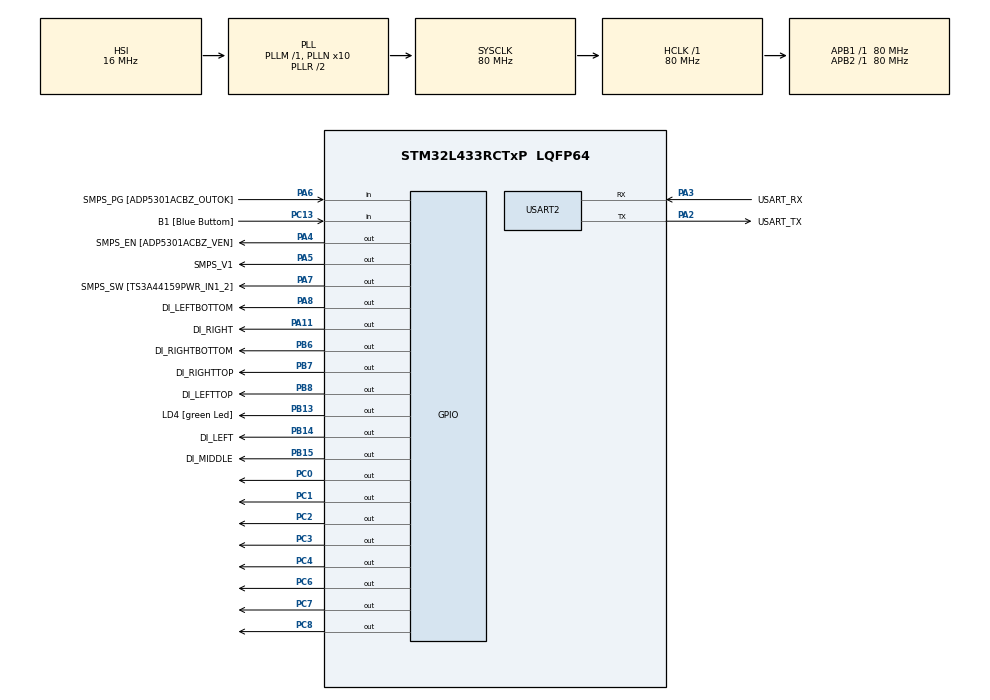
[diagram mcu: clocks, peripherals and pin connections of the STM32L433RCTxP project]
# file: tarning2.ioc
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Mcu.Family=STM32L4
Mcu.Name=STM32L433RCTxP
Mcu.Package=LQFP64
NVIC.PriorityGroup=NVIC_PRIORITYGROUP_4
PA11.GPIO_Label=DI_RIGHT
PA11.Signal=GPIO_Output
PA13\ (JTMS-SWDIO).GPIO_Label=TMS
PA13\ (JTMS-SWDIO).Mode=Serial_Wire
PA13\ (JTMS-SWDIO).Signal=SYS_JTMS-SWDIO
PA14\ (JTCK-SWCLK).GPIO_Label=TCK
PA14\ (JTCK-SWCLK).Mode=Serial_Wire
PA14\ (JTCK-SWCLK).Signal=SYS_JTCK-SWCLK
PA2.GPIO_Label=USART_TX
PA2.GPIO_Mode=GPIO_MODE_AF_PP
PA2.GPIO_PuPd=GPIO_NOPULL
PA2.GPIO_Speed=GPIO_SPEED_FREQ_VERY_HIGH
PA2.Mode=Asynchronous
PA2.Signal=USART2_TX
PA3.GPIO_Label=USART_RX
PA3.GPIO_Mode=GPIO_MODE_AF_PP
PA3.GPIO_PuPd=GPIO_NOPULL
PA3.GPIO_Speed=GPIO_SPEED_FREQ_VERY_HIGH
PA3.Mode=Asynchronous
PA3.Signal=USART2_RX
PA4.GPIO_Label=SMPS_EN [ADP5301ACBZ_VEN]
PA4.Signal=GPIO_Output
PA5.GPIO_Label=SMPS_V1
PA5.GPIO_ModeDefaultOutputPP=GPIO_MODE_OUTPUT_PP
PA5.GPIO_PuPd=GPIO_NOPULL
PA5.GPIO_Speed=GPIO_SPEED_FREQ_LOW
PA5.Signal=GPIO_Output
PA6.GPIO_Label=SMPS_PG [ADP5301ACBZ_OUTOK]
PA6.GPIO_PuPd=GPIO_PULLUP
PA6.Signal=GPIO_Input
PA7.GPIO_Label=SMPS_SW [TS3A44159PWR_IN1_2]
PA7.Signal=GPIO_Output
PA8.GPIO_Label=DI_LEFTBOTTOM
PA8.Signal=GPIO_Output
PB13.GPIO_Label=LD4 [green Led]
PB13.Signal=GPIO_Output
PB14.GPIO_Label=DI_LEFT
PB14.Signal=GPIO_Output
PB15.GPIO_Label=DI_MIDDLE
PB15.Signal=GPIO_Output
PB3\ (JTDO-TRACESWO).GPIO_Label=SWO
PB3\ (JTDO-TRACESWO).Signal=SYS_JTDO-SWO
PB6.GPIO_Label=DI_RIGHTBOTTOM
PB6.Signal=GPIO_Output
PB7.GPIO_Label=DI_RIGHTTOP
PB7.Signal=GPIO_Output
PB8.GPIO_Label=DI_LEFTTOP
PB8.Signal=GPIO_Output
PC0.Signal=GPIO_Output
PC1.Signal=GPIO_Output
PC13.GPIO_Label=B1 [Blue Buttom]
PC13.Signal=GPIO_Input
PC14-OSC32_IN\ (PC14).Mode=LSE-External-Oscillator
PC14-OSC32_IN\ (PC14).Signal=RCC_OSC32_IN
PC15-OSC32_OUT\ (PC15).Mode=LSE-External-Oscillator
PC15-OSC32_OUT\ (PC15).Signal=RCC_OSC32_OUT
PC2.Signal=GPIO_Output
PC3.Signal=GPIO_Output
PC4.Signal=GPIO_Output
PC6.Signal=GPIO_Output
PC7.Signal=GPIO_Output
PC8.Signal=GPIO_Output
PH0-OSC_IN\ (PH0).GPIO_Label=MCO
PH0-OSC_IN\ (PH0).Mode=HSE-External-Clock-Source
PH0-OSC_IN\ (PH0).Signal=RCC_OSC_IN
PH1-OSC_OUT\ (PH1).Signal=RCC_OSC_OUT
ProjectManager.HeapSize=0x200
ProjectManager.StackSize=0x400
ProjectManager.TargetToolchain=STM32CubeIDE
RCC.ADCFreq_Value=64000000
RCC.AHBFreq_Value=80000000
RCC.APB1Freq_Value=80000000
RCC.APB1TimFreq_Value=80000000
RCC.APB2Freq_Value=80000000
RCC.APB2TimFreq_Value=80000000
RCC.CortexFreq_Value=80000000
RCC.HCLKFreq_Value=80000000
RCC.HSE_VALUE=8000000
RCC.HSI48_VALUE=48000000
RCC.HSI_VALUE=16000000
RCC.MSI_VALUE=4000000
RCC.PLLN=10
RCC.PLLSourceVirtual=RCC_PLLSOURCE_HSI
RCC.PREFETCH_ENABLE=1
RCC.SYSCLKFreq_VALUE=80000000
RCC.SYSCLKSource=RCC_SYSCLKSOURCE_PLLCLK
RCC.USBFreq_Value=64000000
RCC.VCOOutputFreq_Value=160000000
USART2.VirtualMode-Asynchronous=VM_ASYNC
board=NUCLEO-L433RC-P

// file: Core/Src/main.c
/* USER CODE BEGIN Header */
/**
  ******************************************************************************
  * @file           : main.c
  * @brief          : Main program body
  ******************************************************************************
  * @attention
  *
  * Copyright (c) 2026 STMicroelectronics.
  * All rights reserved.
  *
  * This software is licensed under terms that can be found in the LICENSE file
  * in the root directory of this software component.
  * If no LICENSE file comes with this software, it is provided AS-IS.
  *
  ******************************************************************************
  */
/* USER CODE END Header */
#include "main.h"

/* USER CODE BEGIN Includes */
#include "tarning.h"
#include "7segment.h"
/* USER CODE END Includes */

UART_HandleTypeDef huart2;

void SystemClock_Config(void);
static void MX_GPIO_Init(void);
static void MX_USART2_UART_Init(void);

/* USER CODE BEGIN 0 */
int is_button_pressed(void) {
	return GPIOC->IDR & (1u << 13);
}
void put_die_dots(uint8_t nbr){
	_tarning_set(nbr, true);
}
void put_on_sseg(uint8_t nbr) {
	seven_segment_display(nbr);
}
/* USER CODE END 0 */

int main(void)
{

  /* MCU Configuration--------------------------------------------------------*/

  /* Reset of all peripherals, Initializes the Flash interface and the Systick. */
  HAL_Init();

  /* Configure the system clock */
  SystemClock_Config();

  /* Initialize all configured peripherals */
  MX_GPIO_Init();
  MX_USART2_UART_Init();
  /* USER CODE BEGIN 2 */
  int pressed = 0;
  tarning_idle();
  /* USER CODE END 2 */

  /* Infinite loop */
  while (1)
  {

    /* USER CODE BEGIN 3 */
	  // if (HAL_GPIO_ReadPin(B1_GPIO_Port, B1_Pin) == GPIO_PIN_SET) {
	  pressed = is_button_pressed();

	  if (pressed){
		  tarning_roll();
		  HAL_Delay(1);
	  }
	  else HAL_Delay(20);
	  seven_segment_display(tarning_history());

	  if (pressed)
	  {
		  HAL_GPIO_WritePin(LD4_GPIO_Port, LD4_Pin, GPIO_PIN_SET);
	  }
	  else
	  {
		  GPIO_TypeDef* ld_gpio = LD4_GPIO_Port; // fel! ersatt med ditt svar
		  // uint16_t ld_pin_nbr = 13; // fel! ersatt med ditt svar
		  // uint16_t ld_pin = 0x01 << ld_pin_nbr;
		  HAL_GPIO_WritePin(ld_gpio, LD4_Pin, GPIO_PIN_RESET);
	  }

  }
  /* USER CODE END 3 */
}

void SystemClock_Config(void)
{
  RCC_OscInitTypeDef RCC_OscInitStruct = {0};
  RCC_ClkInitTypeDef RCC_ClkInitStruct = {0};

  /** Configure the main internal regulator output voltage
  */
  if (HAL_PWREx_ControlVoltageScaling(PWR_REGULATOR_VOLTAGE_SCALE1) != HAL_OK)
  {
    Error_Handler();
  }

  /** Initializes the RCC Oscillators according to the specified parameters
  * in the RCC_OscInitTypeDef structure.
  */
  RCC_OscInitStruct.OscillatorType = RCC_OSCILLATORTYPE_HSI;
  RCC_OscInitStruct.HSIState = RCC_HSI_ON;
  RCC_OscInitStruct.HSICalibrationValue = RCC_HSICALIBRATION_DEFAULT;
  RCC_OscInitStruct.PLL.PLLState = RCC_PLL_ON;
  RCC_OscInitStruct.PLL.PLLSource = RCC_PLLSOURCE_HSI;
  RCC_OscInitStruct.PLL.PLLM = 1;
  RCC_OscInitStruct.PLL.PLLN = 10;
  RCC_OscInitStruct.PLL.PLLP = RCC_PLLP_DIV7;
  RCC_OscInitStruct.PLL.PLLQ = RCC_PLLQ_DIV2;
  RCC_OscInitStruct.PLL.PLLR = RCC_PLLR_DIV2;
  if (HAL_RCC_OscConfig(&RCC_OscInitStruct) != HAL_OK)
  {
    Error_Handler();
  }

  /** Initializes the CPU, AHB and APB buses clocks
  */
  RCC_ClkInitStruct.ClockType = RCC_CLOCKTYPE_HCLK|RCC_CLOCKTYPE_SYSCLK
                              |RCC_CLOCKTYPE_PCLK1|RCC_CLOCKTYPE_PCLK2;
  RCC_ClkInitStruct.SYSCLKSource = RCC_SYSCLKSOURCE_PLLCLK;
  RCC_ClkInitStruct.AHBCLKDivider = RCC_SYSCLK_DIV1;
  RCC_ClkInitStruct.APB1CLKDivider = RCC_HCLK_DIV1;
  RCC_ClkInitStruct.APB2CLKDivider = RCC_HCLK_DIV1;

  if (HAL_RCC_ClockConfig(&RCC_ClkInitStruct, FLASH_LATENCY_4) != HAL_OK)
  {
    Error_Handler();
  }
}

static void MX_USART2_UART_Init(void)
{

  huart2.Instance = USART2;
  huart2.Init.BaudRate = 115200;
  huart2.Init.WordLength = UART_WORDLENGTH_8B;
  huart2.Init.StopBits = UART_STOPBITS_1;
  huart2.Init.Parity = UART_PARITY_NONE;
  huart2.Init.Mode = UART_MODE_TX_RX;
  huart2.Init.HwFlowCtl = UART_HWCONTROL_NONE;
  huart2.Init.OverSampling = UART_OVERSAMPLING_16;
  huart2.Init.OneBitSampling = UART_ONE_BIT_SAMPLE_DISABLE;
  huart2.AdvancedInit.AdvFeatureInit = UART_ADVFEATURE_NO_INIT;
  if (HAL_UART_Init(&huart2) != HAL_OK)
  {
    Error_Handler();
  }

}

static void MX_GPIO_Init(void)
{
  GPIO_InitTypeDef GPIO_InitStruct = {0};

  /* GPIO Ports Clock Enable */
  __HAL_RCC_GPIOC_CLK_ENABLE();
  __HAL_RCC_GPIOH_CLK_ENABLE();
  __HAL_RCC_GPIOA_CLK_ENABLE();
  __HAL_RCC_GPIOB_CLK_ENABLE();

  /*Configure GPIO pin Output Level */
  HAL_GPIO_WritePin(GPIOC, GPIO_PIN_0|GPIO_PIN_1|GPIO_PIN_2|GPIO_PIN_3
                          |GPIO_PIN_4|GPIO_PIN_6|GPIO_PIN_7|GPIO_PIN_8, GPIO_PIN_RESET);

  /*Configure GPIO pin Output Level */
  HAL_GPIO_WritePin(GPIOA, SMPS_EN_Pin|SMPS_V1_Pin|SMPS_SW_Pin|DI_LEFTBOTTOM_Pin
                          |DI_RIGHT_Pin, GPIO_PIN_RESET);

  /*Configure GPIO pin Output Level */
  HAL_GPIO_WritePin(GPIOB, LD4_Pin|DI_LEFT_Pin|DI_MIDDLE_Pin|DI_RIGHTBOTTOM_Pin
                          |DI_RIGHTTOP_Pin|DI_LEFTTOP_Pin, GPIO_PIN_RESET);

  /*Configure GPIO pin : B1_Pin */
  GPIO_InitStruct.Pin = B1_Pin;
  GPIO_InitStruct.Mode = GPIO_MODE_INPUT;
  GPIO_InitStruct.Pull = GPIO_NOPULL;
  HAL_GPIO_Init(B1_GPIO_Port, &GPIO_InitStruct);

  /*Configure GPIO pins : PC0 PC1 PC2 PC3
                           PC4 PC6 PC7 PC8 */
  GPIO_InitStruct.Pin = GPIO_PIN_0|GPIO_PIN_1|GPIO_PIN_2|GPIO_PIN_3
                          |GPIO_PIN_4|GPIO_PIN_6|GPIO_PIN_7|GPIO_PIN_8;
  GPIO_InitStruct.Mode = GPIO_MODE_OUTPUT_PP;
  GPIO_InitStruct.Pull = GPIO_NOPULL;
  GPIO_InitStruct.Speed = GPIO_SPEED_FREQ_LOW;
  HAL_GPIO_Init(GPIOC, &GPIO_InitStruct);

  /*Configure GPIO pins : SMPS_EN_Pin SMPS_V1_Pin SMPS_SW_Pin DI_LEFTBOTTOM_Pin
                           DI_RIGHT_Pin */
  GPIO_InitStruct.Pin = SMPS_EN_Pin|SMPS_V1_Pin|SMPS_SW_Pin|DI_LEFTBOTTOM_Pin
                          |DI_RIGHT_Pin;
  GPIO_InitStruct.Mode = GPIO_MODE_OUTPUT_PP;
  GPIO_InitStruct.Pull = GPIO_NOPULL;
  GPIO_InitStruct.Speed = GPIO_SPEED_FREQ_LOW;
  HAL_GPIO_Init(GPIOA, &GPIO_InitStruct);

  /*Configure GPIO pin : SMPS_PG_Pin */
  GPIO_InitStruct.Pin = SMPS_PG_Pin;
  GPIO_InitStruct.Mode = GPIO_MODE_INPUT;
  GPIO_InitStruct.Pull = GPIO_PULLUP;
  HAL_GPIO_Init(SMPS_PG_GPIO_Port, &GPIO_InitStruct);

  /*Configure GPIO pins : LD4_Pin DI_LEFT_Pin DI_MIDDLE_Pin DI_RIGHTBOTTOM_Pin
                           DI_RIGHTTOP_Pin DI_LEFTTOP_Pin */
  GPIO_InitStruct.Pin = LD4_Pin|DI_LEFT_Pin|DI_MIDDLE_Pin|DI_RIGHTBOTTOM_Pin
                          |DI_RIGHTTOP_Pin|DI_LEFTTOP_Pin;
  GPIO_InitStruct.Mode = GPIO_MODE_OUTPUT_PP;
  GPIO_InitStruct.Pull = GPIO_NOPULL;
  GPIO_InitStruct.Speed = GPIO_SPEED_FREQ_LOW;
  HAL_GPIO_Init(GPIOB, &GPIO_InitStruct);

}

void Error_Handler(void)
{
  __disable_irq();
  while (1)
  {
  }
}
